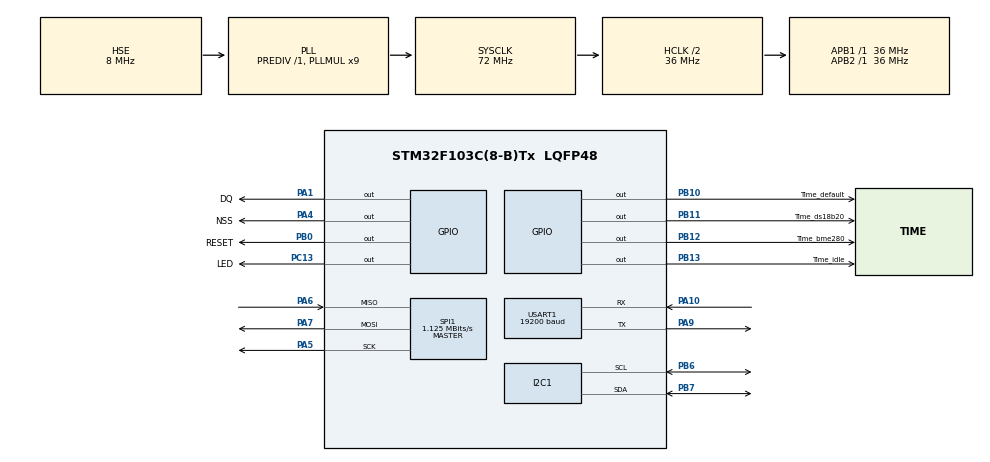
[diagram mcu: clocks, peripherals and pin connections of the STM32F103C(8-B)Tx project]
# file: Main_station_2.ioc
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FREERTOS.INCLUDE_xTaskGetHandle=0
FREERTOS.Tasks01=defaultTask,24,256,StartDefaultTask,Default,NULL,Dynamic,NULL,NULL;DallasTask,25,264,DallasThread,Default,NULL,Dynamic,NULL,NULL;BME280_TASK,25,256,BME280_Thread,Default,NULL,Dynamic,NULL,NULL
FREERTOS.configCHECK_FOR_STACK_OVERFLOW=2
FREERTOS.configTOTAL_HEAP_SIZE=5120
FREERTOS.configUSE_MALLOC_FAILED_HOOK=1
FREERTOS.configUSE_NEWLIB_REENTRANT=1
Mcu.Family=STM32F1
Mcu.Name=STM32F103C(8-B)Tx
Mcu.Package=LQFP48
NVIC.PriorityGroup=NVIC_PRIORITYGROUP_4
NVIC.TIM4_IRQn=true\:15\:0\:false\:false\:true\:false\:false\:true\:true
NVIC.TimeBase=TIM4_IRQn
NVIC.TimeBaseIP=TIM4
NVIC.USART1_IRQn=true\:5\:0\:false\:false\:true\:true\:true\:true\:true
PA1.GPIO_Label=DQ
PA1.GPIO_ModeDefaultOutputPP=GPIO_MODE_OUTPUT_OD
PA1.GPIO_PuPd=GPIO_PULLUP
PA1.Signal=GPIO_Output
PA10.Mode=Asynchronous
PA10.Signal=USART1_RX
PA13.Mode=Serial_Wire
PA13.Signal=SYS_JTMS-SWDIO
PA14.Mode=Serial_Wire
PA14.Signal=SYS_JTCK-SWCLK
PA4.GPIO_Label=NSS
PA4.PinState=GPIO_PIN_SET
PA4.Signal=GPIO_Output
PA5.Mode=Full_Duplex_Master
PA5.Signal=SPI1_SCK
PA6.Mode=Full_Duplex_Master
PA6.Signal=SPI1_MISO
PA7.Mode=Full_Duplex_Master
PA7.Signal=SPI1_MOSI
PA9.Mode=Asynchronous
PA9.Signal=USART1_TX
PB0.GPIO_Label=RESET
PB0.PinState=GPIO_PIN_SET
PB0.Signal=GPIO_Output
PB10.GPIO_Label=Time_default
PB10.Signal=GPIO_Output
PB11.GPIO_Label=Time_ds18b20
PB11.Signal=GPIO_Output
PB12.GPIO_Label=Time_bme280
PB12.Signal=GPIO_Output
PB13.GPIO_Label=Time_idle
PB13.Signal=GPIO_Output
PB6.Mode=I2C
PB6.Signal=I2C1_SCL
PB7.Mode=I2C
PB7.Signal=I2C1_SDA
PC13-TAMPER-RTC.GPIO_Label=LED
PC13-TAMPER-RTC.Signal=GPIO_Output
PD0-OSC_IN.Mode=HSE-External-Oscillator
PD0-OSC_IN.Signal=RCC_OSC_IN
PD1-OSC_OUT.Mode=HSE-External-Oscillator
PD1-OSC_OUT.Signal=RCC_OSC_OUT
ProjectManager.HeapSize=0x200
ProjectManager.StackSize=0x400
ProjectManager.TargetToolchain=STM32CubeIDE
RCC.AHBCLKDivider=RCC_SYSCLK_DIV2
RCC.AHBFreq_Value=36000000
RCC.APB1Freq_Value=36000000
RCC.APB1TimFreq_Value=36000000
RCC.APB2Freq_Value=36000000
RCC.APB2TimFreq_Value=36000000
RCC.HCLKFreq_Value=36000000
RCC.PLLMUL=RCC_PLL_MUL9
RCC.PLLSourceVirtual=RCC_PLLSOURCE_HSE
RCC.SYSCLKFreq_VALUE=72000000
RCC.SYSCLKSource=RCC_SYSCLKSOURCE_PLLCLK
RCC.USBFreq_Value=72000000
SPI1.BaudRatePrescaler=SPI_BAUDRATEPRESCALER_32
SPI1.CalculateBaudRate=1.125 MBits/s
SPI1.Direction=SPI_DIRECTION_2LINES
SPI1.Mode=SPI_MODE_MASTER
SPI1.VirtualType=VM_MASTER
USART1.BaudRate=19200
USART1.VirtualMode=VM_ASYNC
VP_FREERTOS_VS_CMSIS_V2.Mode=CMSIS_V2
VP_SYS_VS_tim4.Mode=TIM4
board=custom

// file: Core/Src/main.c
/* USER CODE BEGIN Header */
/**
  ******************************************************************************
  * @file           : main.c
  * @brief          : Main program body
  ******************************************************************************
  * @attention
  *
  * Copyright (c) 2026 STMicroelectronics.
  * All rights reserved.
  *
  * This software is licensed under terms that can be found in the LICENSE file
  * in the root directory of this software component.
  * If no LICENSE file comes with this software, it is provided AS-IS.
  *
  ******************************************************************************
  */
/* USER CODE END Header */
#include "main.h"
#include "cmsis_os.h"

/* USER CODE BEGIN Includes */

#include <stdio.h>
#include <string.h>
#include <stdlib.h>
#include <stdint.h>

/* USER CODE END Includes */

/* USER CODE BEGIN PTD */

static uint32_t free_now, free_min;

uint32_t default_free;
uint32_t dallas_free;
uint32_t bme_free;

/* USER CODE END PTD */

I2C_HandleTypeDef hi2c1;

SPI_HandleTypeDef hspi1;

UART_HandleTypeDef huart1;

/* Definitions for defaultTask */
osThreadId_t defaultTaskHandle;
const osThreadAttr_t defaultTask_attributes = {
  .name = "defaultTask",
  .stack_size = 256 * 4,
  .priority = (osPriority_t) osPriorityNormal,
};
/* Definitions for DallasTask */
osThreadId_t DallasTaskHandle;
const osThreadAttr_t DallasTask_attributes = {
  .name = "DallasTask",
  .stack_size = 264 * 4,
  .priority = (osPriority_t) osPriorityNormal1,
};
/* Definitions for BME280_TASK */
osThreadId_t BME280_TASKHandle;
const osThreadAttr_t BME280_TASK_attributes = {
  .name = "BME280_TASK",
  .stack_size = 256 * 4,
  .priority = (osPriority_t) osPriorityNormal1,
};

void SystemClock_Config(void);
static void MX_GPIO_Init(void);
static void MX_I2C1_Init(void);
static void MX_USART1_UART_Init(void);
static void MX_SPI1_Init(void);
void StartDefaultTask(void *argument);
void DallasThread(void *argument);
void BME280_Thread(void *argument);

int main(void)
{

  /* MCU Configuration--------------------------------------------------------*/

  /* Reset of all peripherals, Initializes the Flash interface and the Systick. */
  HAL_Init();

  /* Configure the system clock */
  SystemClock_Config();

  /* Initialize all configured peripherals */
  MX_GPIO_Init();
  MX_I2C1_Init();
  MX_USART1_UART_Init();
  MX_SPI1_Init();
  /* USER CODE BEGIN 2 */

// ***************************************************************************************

   //              КОНФИГУРАЦИЯ РАДИОКАНАЛА

  // Проверка №1
  // Приемник должен быть с такой же конфигурацией:

  SX1278_Config_t radio_config =
  {
      .frequency        = 433920000UL,       // 433.92 МГц
      .spreading_factor = 7,                 // SF7
      .bandwidth        = SX1278_BW_125_KHZ, // BW125
      .coding_rate      = 1,                 // CR 4/5
      .preamble_length  = 8,                 // 8 символов
      .sync_word        = 0x12,              // Частная LoRa-сеть
      .crc_enable       = 1                  // CRC включён
  };

   //              ИНИЦИАЛИЗАЦИЯ РАДИОМОДУЛЯ

  HAL_StatusTypeDef radio_status;

  radio_status = SX1278_Init(&radio_config);

  char message[100];

  if (radio_status == HAL_OK)
  {
      snprintf(message, sizeof(message), "SX1278 initialization OK!\r\n");
  }
  else
  {
      snprintf(message, sizeof(message), "SX1278 initialization ERROR: %d\r\n", radio_status);
  }

  HAL_UART_Transmit(&huart1, (uint8_t*)message, strlen(message), HAL_MAX_DELAY);

  // Проверим Регистры, удалось ли настроить

  uint8_t reg_value;

  // Список регистров для проверки:
  uint8_t registers[] =
  {
      0x01, // RegOpMode
      0x06, // RegFrfMsb
      0x07, // RegFrfMid
      0x08, // RegFrfLsb
      0x1D, // RegModemConfig1
      0x1E, // RegModemConfig2
      0x26, // RegModemConfig3
      0x39  // RegSyncWord
  };

  for (uint8_t i = 0; i < sizeof(registers); i++)
  {
      if (SX1278_ReadRegister(registers[i], &reg_value) == HAL_OK)
      {
          snprintf(message, sizeof(message), "REG 0x%02X = 0x%02X\r\n", registers[i], reg_value);

          HAL_UART_Transmit(&huart1, (uint8_t*)message, strlen(message), HAL_MAX_DELAY);
      }
      else
      {
          snprintf(message, sizeof(message), "REG 0x%02X READ ERROR\r\n", registers[i]);

          HAL_UART_Transmit(&huart1, (uint8_t*)message, strlen(message), HAL_MAX_DELAY);
      }
  }

// *****************************************************************************************

  /* USER CODE END 2 */

  /* Init scheduler */
  osKernelInitialize();

  /* Create the thread(s) */
  /* creation of defaultTask */
  defaultTaskHandle = osThreadNew(StartDefaultTask, NULL, &defaultTask_attributes);

  /* creation of DallasTask */
  DallasTaskHandle = osThreadNew(DallasThread, NULL, &DallasTask_attributes);

  /* creation of BME280_TASK */
  BME280_TASKHandle = osThreadNew(BME280_Thread, NULL, &BME280_TASK_attributes);

  /* USER CODE BEGIN RTOS_THREADS */
  /* add threads, ... */

  // ПРИОСТАНОВИМ ВЫПОЛНЕНИЕ ЗАДАЧ КОТОРЫЕ В ДАННЫЙ МОМЕНТ НЕ НУЖНЫ:

  osThreadSuspend(BME280_TASKHandle);
  osThreadSuspend(DallasTaskHandle);

  /* USER CODE END RTOS_THREADS */

  /* Start scheduler */
  osKernelStart();

  /* We should never get here as control is now taken by the scheduler */

  /* Infinite loop */
  while (1)
  {

  }
}

void SystemClock_Config(void)
{
  RCC_OscInitTypeDef RCC_OscInitStruct = {0};
  RCC_ClkInitTypeDef RCC_ClkInitStruct = {0};

  /** Initializes the RCC Oscillators according to the specified parameters
  * in the RCC_OscInitTypeDef structure.
  */
  RCC_OscInitStruct.OscillatorType = RCC_OSCILLATORTYPE_HSE;
  RCC_OscInitStruct.HSEState = RCC_HSE_ON;
  RCC_OscInitStruct.HSEPredivValue = RCC_HSE_PREDIV_DIV1;
  RCC_OscInitStruct.HSIState = RCC_HSI_ON;
  RCC_OscInitStruct.PLL.PLLState = RCC_PLL_ON;
  RCC_OscInitStruct.PLL.PLLSource = RCC_PLLSOURCE_HSE;
  RCC_OscInitStruct.PLL.PLLMUL = RCC_PLL_MUL9;
  if (HAL_RCC_OscConfig(&RCC_OscInitStruct) != HAL_OK)
  {
    Error_Handler();
  }

  /** Initializes the CPU, AHB and APB buses clocks
  */
  RCC_ClkInitStruct.ClockType = RCC_CLOCKTYPE_HCLK|RCC_CLOCKTYPE_SYSCLK
                              |RCC_CLOCKTYPE_PCLK1|RCC_CLOCKTYPE_PCLK2;
  RCC_ClkInitStruct.SYSCLKSource = RCC_SYSCLKSOURCE_PLLCLK;
  RCC_ClkInitStruct.AHBCLKDivider = RCC_SYSCLK_DIV2;
  RCC_ClkInitStruct.APB1CLKDivider = RCC_HCLK_DIV1;
  RCC_ClkInitStruct.APB2CLKDivider = RCC_HCLK_DIV1;

  if (HAL_RCC_ClockConfig(&RCC_ClkInitStruct, FLASH_LATENCY_2) != HAL_OK)
  {
    Error_Handler();
  }
}

static void MX_I2C1_Init(void)
{

  hi2c1.Instance = I2C1;
  hi2c1.Init.ClockSpeed = 100000;
  hi2c1.Init.DutyCycle = I2C_DUTYCYCLE_2;
  hi2c1.Init.OwnAddress1 = 0;
  hi2c1.Init.AddressingMode = I2C_ADDRESSINGMODE_7BIT;
  hi2c1.Init.DualAddressMode = I2C_DUALADDRESS_DISABLE;
  hi2c1.Init.OwnAddress2 = 0;
  hi2c1.Init.GeneralCallMode = I2C_GENERALCALL_DISABLE;
  hi2c1.Init.NoStretchMode = I2C_NOSTRETCH_DISABLE;
  if (HAL_I2C_Init(&hi2c1) != HAL_OK)
  {
    Error_Handler();
  }

}

static void MX_SPI1_Init(void)
{

  /* SPI1 parameter configuration*/
  hspi1.Instance = SPI1;
  hspi1.Init.Mode = SPI_MODE_MASTER;
  hspi1.Init.Direction = SPI_DIRECTION_2LINES;
  hspi1.Init.DataSize = SPI_DATASIZE_8BIT;
  hspi1.Init.CLKPolarity = SPI_POLARITY_LOW;
  hspi1.Init.CLKPhase = SPI_PHASE_1EDGE;
  hspi1.Init.NSS = SPI_NSS_SOFT;
  hspi1.Init.BaudRatePrescaler = SPI_BAUDRATEPRESCALER_32;
  hspi1.Init.FirstBit = SPI_FIRSTBIT_MSB;
  hspi1.Init.TIMode = SPI_TIMODE_DISABLE;
  hspi1.Init.CRCCalculation = SPI_CRCCALCULATION_DISABLE;
  hspi1.Init.CRCPolynomial = 10;
  if (HAL_SPI_Init(&hspi1) != HAL_OK)
  {
    Error_Handler();
  }

}

static void MX_USART1_UART_Init(void)
{

  huart1.Instance = USART1;
  huart1.Init.BaudRate = 19200;
  huart1.Init.WordLength = UART_WORDLENGTH_8B;
  huart1.Init.StopBits = UART_STOPBITS_1;
  huart1.Init.Parity = UART_PARITY_NONE;
  huart1.Init.Mode = UART_MODE_TX_RX;
  huart1.Init.HwFlowCtl = UART_HWCONTROL_NONE;
  huart1.Init.OverSampling = UART_OVERSAMPLING_16;
  if (HAL_UART_Init(&huart1) != HAL_OK)
  {
    Error_Handler();
  }

}

static void MX_GPIO_Init(void)
{
  GPIO_InitTypeDef GPIO_InitStruct = {0};

  /* GPIO Ports Clock Enable */
  __HAL_RCC_GPIOC_CLK_ENABLE();
  __HAL_RCC_GPIOD_CLK_ENABLE();
  __HAL_RCC_GPIOA_CLK_ENABLE();
  __HAL_RCC_GPIOB_CLK_ENABLE();

  /*Configure GPIO pin Output Level */
  HAL_GPIO_WritePin(LED_GPIO_Port, LED_Pin, GPIO_PIN_RESET);

  /*Configure GPIO pin Output Level */
  HAL_GPIO_WritePin(DQ_GPIO_Port, DQ_Pin, GPIO_PIN_RESET);

  /*Configure GPIO pin Output Level */
  HAL_GPIO_WritePin(NSS_GPIO_Port, NSS_Pin, GPIO_PIN_SET);

  /*Configure GPIO pin Output Level */
  HAL_GPIO_WritePin(RESET_GPIO_Port, RESET_Pin, GPIO_PIN_SET);

  /*Configure GPIO pin Output Level */
  HAL_GPIO_WritePin(GPIOB, Time_default_Pin|Time_ds18b20_Pin|Time_bme280_Pin|Time_idle_Pin, GPIO_PIN_RESET);

  /*Configure GPIO pin : LED_Pin */
  GPIO_InitStruct.Pin = LED_Pin;
  GPIO_InitStruct.Mode = GPIO_MODE_OUTPUT_PP;
  GPIO_InitStruct.Pull = GPIO_NOPULL;
  GPIO_InitStruct.Speed = GPIO_SPEED_FREQ_LOW;
  HAL_GPIO_Init(LED_GPIO_Port, &GPIO_InitStruct);

  /*Configure GPIO pin : DQ_Pin */
  GPIO_InitStruct.Pin = DQ_Pin;
  GPIO_InitStruct.Mode = GPIO_MODE_OUTPUT_OD;
  GPIO_InitStruct.Pull = GPIO_PULLUP;
  GPIO_InitStruct.Speed = GPIO_SPEED_FREQ_LOW;
  HAL_GPIO_Init(DQ_GPIO_Port, &GPIO_InitStruct);

  /*Configure GPIO pin : NSS_Pin */
  GPIO_InitStruct.Pin = NSS_Pin;
  GPIO_InitStruct.Mode = GPIO_MODE_OUTPUT_PP;
  GPIO_InitStruct.Pull = GPIO_NOPULL;
  GPIO_InitStruct.Speed = GPIO_SPEED_FREQ_LOW;
  HAL_GPIO_Init(NSS_GPIO_Port, &GPIO_InitStruct);

  /*Configure GPIO pins : RESET_Pin Time_default_Pin Time_ds18b20_Pin Time_bme280_Pin
                           Time_idle_Pin */
  GPIO_InitStruct.Pin = RESET_Pin|Time_default_Pin|Time_ds18b20_Pin|Time_bme280_Pin
                          |Time_idle_Pin;
  GPIO_InitStruct.Mode = GPIO_MODE_OUTPUT_PP;
  GPIO_InitStruct.Pull = GPIO_NOPULL;
  GPIO_InitStruct.Speed = GPIO_SPEED_FREQ_LOW;
  HAL_GPIO_Init(GPIOB, &GPIO_InitStruct);

}

void StartDefaultTask(void *argument)
{
  /* USER CODE BEGIN 5 */
  /* Infinite loop */

  char buf[128];
  FreeRTOS_StackInfo_t stack;
  FreeRTOS_MemoryInfo_t mem;

  for(;;)
  {
	HAL_GPIO_TogglePin(LED_GPIO_Port, LED_Pin);

     // Мониторим Кучу
     mem = FreeRTOS_Monitor_GetMemoryInfo();
     free_now     = mem.heap_free;
     free_min     = mem.heap_min_free;

     sprintf(buf, "now: %lu  min: %lu    \r\n", (unsigned long)free_now, (unsigned long)free_min);
     HAL_UART_Transmit(&huart1, (uint8_t*)buf, strlen(buf), 100);

     // Мониторим Стек Задач
     stack = FreeRTOS_Monitor_GetStackInfo();

     default_free = stack.defaultTask_free;
     dallas_free  = stack.DallasTask_free;
     bme_free     = stack.BME280_TASK_free;

     sprintf(buf, "default: %lu  dallas: %lu  bme280: %lu   \r\n", (unsigned long)default_free, (unsigned long)dallas_free, (unsigned long)bme_free);
     HAL_UART_Transmit(&huart1, (uint8_t*)buf, strlen(buf), 100);

     osDelay(1000);

  }
  /* USER CODE END 5 */
}

//void DallasThread(void *argument)
//{
  /* USER CODE BEGIN DallasThread */
  /* Infinite loop */
 // for(;;)
//  {
 //   osDelay(1);
//  }
  /* USER CODE END DallasThread */
//}

//void BME280_Thread(void *argument)
//{
  /* USER CODE BEGIN BME280_Thread */
  /* Infinite loop */
//  for(;;)
//  {
//    osDelay(1);
 // }
  /* USER CODE END BME280_Thread */
//}

void HAL_TIM_PeriodElapsedCallback(TIM_HandleTypeDef *htim)
{
  if (htim->Instance == TIM4) {
    HAL_IncTick();
  }
}

void Error_Handler(void)
{
  __disable_irq();
  while (1)
  {
  }
}

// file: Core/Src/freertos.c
/* USER CODE BEGIN Header */
/**
  ******************************************************************************
  * File Name          : freertos.c
  * Description        : Code for freertos applications
  ******************************************************************************
  * @attention
  *
  * Copyright (c) 2026 STMicroelectronics.
  * All rights reserved.
  *
  * This software is licensed under terms that can be found in the LICENSE file
  * in the root directory of this software component.
  * If no LICENSE file comes with this software, it is provided AS-IS.
  *
  ******************************************************************************
  */
/* USER CODE END Header */

#include "FreeRTOS.h"
#include "task.h"
#include "main.h"

/* Hook prototypes */
void vApplicationStackOverflowHook(xTaskHandle xTask, signed char *pcTaskName);
void vApplicationMallocFailedHook(void);

/* USER CODE BEGIN 4 */
void vApplicationStackOverflowHook(xTaskHandle xTask, signed char *pcTaskName)               //  обработчик переполнения Стека
{
   /* Run time stack overflow checking is performed if
   configCHECK_FOR_STACK_OVERFLOW is defined to 1 or 2. This hook function is
   called if a stack overflow is detected. */

    (void)xTask;
    (void)pcTaskName;

    taskDISABLE_INTERRUPTS();            // Выключаем прерывания, ставим на паузу грубо говоря, в предсказуемом состоянии остаемся

    GPIOC->BSRR = GPIO_BSRR_BR13;        //  зажигаем LED для индикации аварии

    for (;;)                             // и переходим в бесконечный цикл, чтобы не уйти в hardfault
    {
    }
}
/* USER CODE END 4 */

/* USER CODE BEGIN 5 */
void vApplicationMallocFailedHook(void)                                                   //  обработчик конца кучи (ошибки выделения памяти)
{
   /* vApplicationMallocFailedHook() will only be called if
   configUSE_MALLOC_FAILED_HOOK is set to 1 in FreeRTOSConfig.h. It is a hook
   function that will get called if a call to pvPortMalloc() fails.
   pvPortMalloc() is called internally by the kernel whenever a task, queue,
   timer or semaphore is created. It is also called by various parts of the
   demo application. If heap_1.c or heap_2.c are used, then the size of the
   heap available to pvPortMalloc() is defined by configTOTAL_HEAP_SIZE in
   FreeRTOSConfig.h, and the xPortGetFreeHeapSize() API function can be used
   to query the size of free heap space that remains (although it does not
   provide information on how the remaining heap might be fragmented). */

    taskDISABLE_INTERRUPTS();          // Выключаем прерывания, ставим на паузу грубо говоря, в предсказуемом состоянии остаемся

    GPIOC->BSRR = GPIO_BSRR_BR13;      //  зажигаем LED для индикации аварии

    for (;;)                           // и переходим в бесконечный цикл, чтобы не уйти в hardfault
    {
    }

}
/* USER CODE END 5 */
